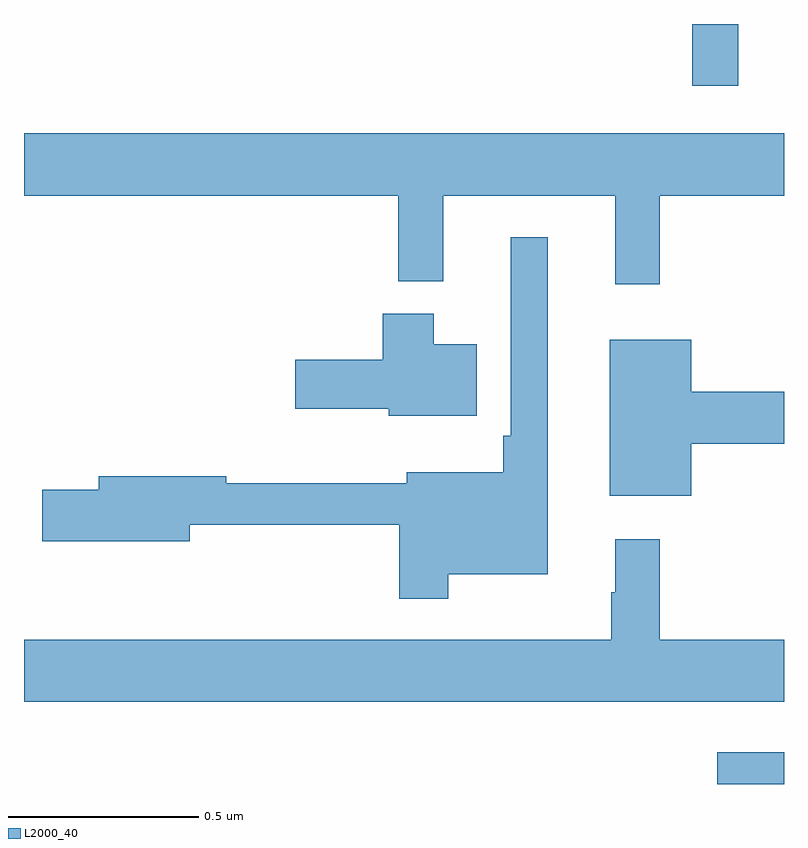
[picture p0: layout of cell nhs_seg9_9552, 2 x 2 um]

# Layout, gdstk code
import gdstk
lib = gdstk.Library(unit=1e-6, precision=1e-09)
def R(c, l, rs):  # rectangles x0, y0, x1, y1
    for r in rs: c.add(gdstk.rectangle(r[:2], r[2:], *l))
def P(c, l, *ps):  # polygons
    for p in ps: c.add(gdstk.Polygon(p, *l))
L2000_40 = (2000, 40)

nhs_seg9_9552 = lib.new_cell('nhs_seg9_9552')
R(nhs_seg9_9552, L2000_40, [(232.824,1233.5,233,1233.583), (232.758,1235.337,232.879,1235.5)])
P(nhs_seg9_9552, L2000_40, [(232.673,1235.048),(233,1235.048),(233,1235.212),(231,1235.212),(231,1235.048),(231.985,1235.048),(231.985,1234.823),(232.103,1234.823),(232.103,1235.048),(232.556,1235.048),(232.556,1234.815),(232.673,1234.815)],
  [(232.117,1234.052),(232.378,1234.052),(232.378,1234.939),(232.281,1234.939),(232.281,1234.417),(232.261,1234.417),(232.261,1234.321),(232.007,1234.321),(232.007,1234.292),(231.532,1234.292),(231.532,1234.31),(231.197,1234.31),(231.197,1234.274),(231.048,1234.274),(231.048,1234.139),(231.436,1234.139),(231.436,1234.182),(231.988,1234.182),(231.988,1233.987),(232.117,1233.987)],
  [(232.192,1234.657),(232.078,1234.657),(232.078,1234.738),(231.944,1234.738),(231.944,1234.617),(231.714,1234.617),(231.714,1234.487),(231.96,1234.487),(231.96,1234.469),(232.192,1234.469)],
  [(232.756,1234.396),(233,1234.396),(233,1234.532),(232.756,1234.532),(232.756,1234.669),(232.541,1234.669),(232.541,1234.259),(232.756,1234.259)],
  [(233,1233.88),(232.673,1233.88),(232.673,1234.144),(232.556,1234.144),(232.556,1234.004),(232.545,1234.004),(232.545,1233.88),(231,1233.88),(231,1233.716),(233,1233.716)])

lib.write_gds('nhs_seg9_9552.gds')
